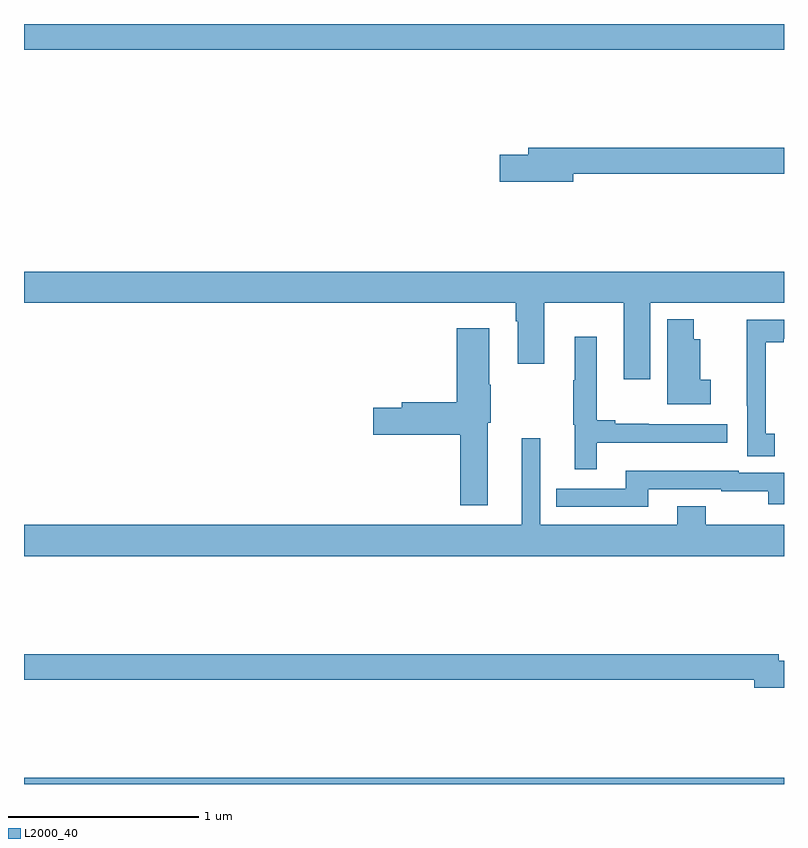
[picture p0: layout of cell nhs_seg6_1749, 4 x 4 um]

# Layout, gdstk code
import gdstk
lib = gdstk.Library(unit=1e-6, precision=1e-09)
def R(c, l, rs):  # rectangles x0, y0, x1, y1
    for r in rs: c.add(gdstk.rectangle(r[:2], r[2:], *l))
def P(c, l, *ps):  # polygons
    for p in ps: c.add(gdstk.Polygon(p, *l))
L2000_40 = (2000, 40)

nhs_seg6_1749 = lib.new_cell('nhs_seg6_1749')
R(nhs_seg6_1749, L2000_40, [(217,915.5,221,915.532), (217,919.364,221,919.5)])
P(nhs_seg6_1749, L2000_40, [(219.892,918.712),(221,918.712),(221,918.848),(219.653,918.848),(219.653,918.812),(219.504,918.812),(219.504,918.67),(219.892,918.67)],
  [(220.297,918.032),(221,918.032),(221,918.196),(217,918.196),(217,918.032),(219.587,918.032),(219.587,917.936),(219.599,917.936),(219.599,917.712),(219.739,917.712),(219.739,918.032),(220.157,918.032),(220.157,917.631),(220.297,917.631)],
  [(220.615,917.628),(220.558,917.628),(220.558,917.842),(220.525,917.842),(220.525,917.947),(220.385,917.947),(220.385,917.498),(220.615,917.498)],
  [(220.952,917.343),(220.903,917.343),(220.903,917.826),(220.999,917.826),(220.999,917.843),(221,917.843),(221,917.944),(220.804,917.944),(220.804,917.491),(220.806,917.491),(220.806,917.224),(220.952,917.224)],
  [(219.442,917.402),(219.456,917.402),(219.456,917.602),(219.448,917.602),(219.448,917.899),(219.278,917.899),(219.278,917.51),(218.987,917.51),(218.987,917.48),(218.838,917.48),(218.838,917.338),(219.296,917.338),(219.296,916.968),(219.442,916.968)],
  [(220.015,917.297),(220.702,917.297),(220.702,917.394),(220.289,917.394),(220.289,917.397),(220.111,917.397),(220.111,917.414),(220.015,917.414),(220.015,917.854),(219.899,917.854),(219.899,917.624),(219.892,917.624),(219.892,917.391),(219.899,917.391),(219.899,917.157),(220.015,917.157)],
  [(221,916.864),(220.587,916.864),(220.587,916.963),(220.439,916.963),(220.439,916.864),(219.717,916.864),(219.717,917.32),(219.62,917.32),(219.62,916.864),(217,916.864),(217,916.7),(221,916.7)],
  [(220.285,917.052),(220.671,917.052),(220.671,917.042),(220.918,917.042),(220.918,916.973),(221,916.973),(221,917.139),(220.761,917.139),(220.761,917.149),(220.166,917.149),(220.166,917.055),(219.802,917.055),(219.802,916.959),(220.285,916.959)],
  [(221,916.148),(220.972,916.148),(220.972,916.184),(217,916.184),(217,916.048),(220.844,916.048),(220.844,916.006),(221,916.006)])

lib.write_gds('nhs_seg6_1749.gds')
